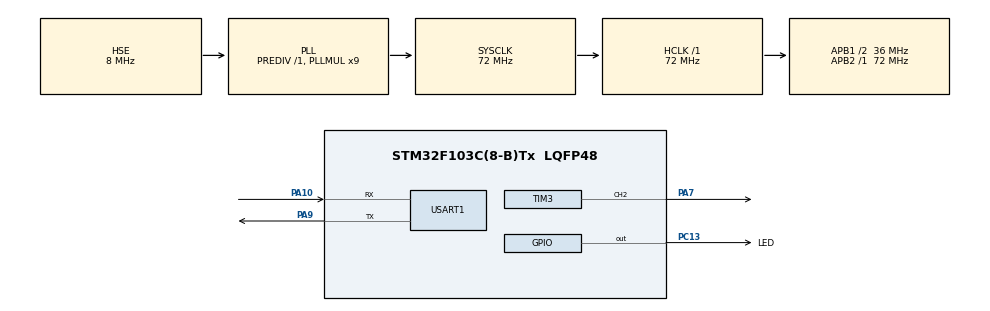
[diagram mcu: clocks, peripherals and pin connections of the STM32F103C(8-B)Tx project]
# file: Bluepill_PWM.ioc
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Mcu.Family=STM32F1
Mcu.Name=STM32F103C(8-B)Tx
Mcu.Package=LQFP48
NVIC.PriorityGroup=NVIC_PRIORITYGROUP_4
PA10.Mode=Asynchronous
PA10.Signal=USART1_RX
PA13.Mode=Serial_Wire
PA13.Signal=SYS_JTMS-SWDIO
PA14.Mode=Serial_Wire
PA14.Signal=SYS_JTCK-SWCLK
PA7.Signal=S_TIM3_CH2
PA9.Mode=Asynchronous
PA9.Signal=USART1_TX
PC13-TAMPER-RTC.GPIO_Label=LED
PC13-TAMPER-RTC.GPIO_ModeDefaultOutputPP=GPIO_MODE_OUTPUT_OD
PC13-TAMPER-RTC.GPIO_PuPd=GPIO_NOPULL
PC13-TAMPER-RTC.PinState=GPIO_PIN_SET
PC13-TAMPER-RTC.Signal=GPIO_Output
PD0-OSC_IN.Mode=HSE-External-Oscillator
PD0-OSC_IN.Signal=RCC_OSC_IN
PD1-OSC_OUT.Mode=HSE-External-Oscillator
PD1-OSC_OUT.Signal=RCC_OSC_OUT
ProjectManager.HeapSize=0x200
ProjectManager.StackSize=0x400
ProjectManager.TargetToolchain=STM32CubeIDE
RCC.AHBFreq_Value=72000000
RCC.APB1CLKDivider=RCC_HCLK_DIV2
RCC.APB1Freq_Value=36000000
RCC.APB1TimFreq_Value=72000000
RCC.APB2Freq_Value=72000000
RCC.APB2TimFreq_Value=72000000
RCC.HCLKFreq_Value=72000000
RCC.PLLMUL=RCC_PLL_MUL9
RCC.PLLSourceVirtual=RCC_PLLSOURCE_HSE
RCC.SYSCLKFreq_VALUE=72000000
RCC.SYSCLKSource=RCC_SYSCLKSOURCE_PLLCLK
RCC.USBFreq_Value=72000000
SH.S_TIM3_CH2.0=TIM3_CH2,PWM Generation2 CH2
TIM3.Channel-PWM\ Generation2\ CH2=TIM_CHANNEL_2
TIM3.Period=10000-1
TIM3.Prescaler=14400-1
TIM3.Pulse-PWM\ Generation2\ CH2=5000
USART1.VirtualMode=VM_ASYNC
VP_TIM3_VS_ClockSourceINT.Mode=Internal
board=custom

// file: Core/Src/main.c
/* USER CODE BEGIN Header */
/**
  ******************************************************************************
  * @file           : main.c
  * @brief          : Main program body
  ******************************************************************************
  * @attention
  *
  * Copyright (c) 2025 STMicroelectronics.
  * All rights reserved.
  *
  * This software is licensed under terms that can be found in the LICENSE file
  * in the root directory of this software component.
  * If no LICENSE file comes with this software, it is provided AS-IS.
  *
  ******************************************************************************
  */
/* USER CODE END Header */
#include "main.h"

/* USER CODE BEGIN Includes */
#include<stdio.h>
/* USER CODE END Includes */

TIM_HandleTypeDef htim3;

UART_HandleTypeDef huart1;

void SystemClock_Config(void);
static void MX_GPIO_Init(void);
static void MX_USART1_UART_Init(void);
static void MX_TIM3_Init(void);

/* USER CODE BEGIN 0 */

int _write(int fd, char *ptr, int len) {
    HAL_StatusTypeDef hstatus;

    if (fd == 1 || fd == 2) {
      hstatus = HAL_UART_Transmit(&huart1, (uint8_t *) ptr, len, HAL_MAX_DELAY);
      if (hstatus == HAL_OK)
        return len;
      else
        return -1;
    }
    return -1;
}

/* USER CODE END 0 */

int main(void)
{

  /* MCU Configuration--------------------------------------------------------*/

  /* Reset of all peripherals, Initializes the Flash interface and the Systick. */
  HAL_Init();

  /* Configure the system clock */
  SystemClock_Config();

  /* Initialize all configured peripherals */
  MX_GPIO_Init();
  MX_USART1_UART_Init();
  MX_TIM3_Init();
  /* USER CODE BEGIN 2 */

  printf("--------------\r\n");

  HAL_TIM_PWM_Start(&htim3, TIM_CHANNEL_2);
  __HAL_TIM_SET_COMPARE(&htim3, TIM_CHANNEL_2, 0);

  uint32_t now=0, nextTick=1000, loopCount=0, nextBlink=500, nextChange=2000;
  uint16_t duty=0, dutyChange=1000;
  int8_t dir=1;

  /* USER CODE END 2 */

  /* Infinite loop */
  /* USER CODE BEGIN WHILE */
  while (1)
  {
	  now=uwTick;

	  if(now>=nextTick){
		  printf("Tick: %lu, Loop: %lu, Duty Cycle: %u, Dir: %d\r\n", now/1000, loopCount, duty, dir);
		  nextTick=now+1000;
		  loopCount=0;
	  }

	  if(now>nextBlink){
		  HAL_GPIO_TogglePin(LED_GPIO_Port, LED_Pin);
		  nextBlink=now+500;
	  }

	  if(now>nextChange){
		  duty+=dutyChange*dir;
		  __HAL_TIM_SET_COMPARE(&htim3, TIM_CHANNEL_2, duty);

		  if(duty>=10000){
			  dir=-1;
		  }

		  if(duty<=0){
			  dir=1;
		  }

		  nextChange=now+2000;
	  }

	  loopCount++;

    /* USER CODE END WHILE */

  }
}

void SystemClock_Config(void)
{
  RCC_OscInitTypeDef RCC_OscInitStruct = {0};
  RCC_ClkInitTypeDef RCC_ClkInitStruct = {0};

  /** Initializes the RCC Oscillators according to the specified parameters
  * in the RCC_OscInitTypeDef structure.
  */
  RCC_OscInitStruct.OscillatorType = RCC_OSCILLATORTYPE_HSE;
  RCC_OscInitStruct.HSEState = RCC_HSE_ON;
  RCC_OscInitStruct.HSEPredivValue = RCC_HSE_PREDIV_DIV1;
  RCC_OscInitStruct.HSIState = RCC_HSI_ON;
  RCC_OscInitStruct.PLL.PLLState = RCC_PLL_ON;
  RCC_OscInitStruct.PLL.PLLSource = RCC_PLLSOURCE_HSE;
  RCC_OscInitStruct.PLL.PLLMUL = RCC_PLL_MUL9;
  if (HAL_RCC_OscConfig(&RCC_OscInitStruct) != HAL_OK)
  {
    Error_Handler();
  }

  /** Initializes the CPU, AHB and APB buses clocks
  */
  RCC_ClkInitStruct.ClockType = RCC_CLOCKTYPE_HCLK|RCC_CLOCKTYPE_SYSCLK
                              |RCC_CLOCKTYPE_PCLK1|RCC_CLOCKTYPE_PCLK2;
  RCC_ClkInitStruct.SYSCLKSource = RCC_SYSCLKSOURCE_PLLCLK;
  RCC_ClkInitStruct.AHBCLKDivider = RCC_SYSCLK_DIV1;
  RCC_ClkInitStruct.APB1CLKDivider = RCC_HCLK_DIV2;
  RCC_ClkInitStruct.APB2CLKDivider = RCC_HCLK_DIV1;

  if (HAL_RCC_ClockConfig(&RCC_ClkInitStruct, FLASH_LATENCY_2) != HAL_OK)
  {
    Error_Handler();
  }
}

static void MX_TIM3_Init(void)
{

  TIM_ClockConfigTypeDef sClockSourceConfig = {0};
  TIM_MasterConfigTypeDef sMasterConfig = {0};
  TIM_OC_InitTypeDef sConfigOC = {0};

  htim3.Instance = TIM3;
  htim3.Init.Prescaler = 14400-1;
  htim3.Init.CounterMode = TIM_COUNTERMODE_UP;
  htim3.Init.Period = 10000-1;
  htim3.Init.ClockDivision = TIM_CLOCKDIVISION_DIV1;
  htim3.Init.AutoReloadPreload = TIM_AUTORELOAD_PRELOAD_DISABLE;
  if (HAL_TIM_Base_Init(&htim3) != HAL_OK)
  {
    Error_Handler();
  }
  sClockSourceConfig.ClockSource = TIM_CLOCKSOURCE_INTERNAL;
  if (HAL_TIM_ConfigClockSource(&htim3, &sClockSourceConfig) != HAL_OK)
  {
    Error_Handler();
  }
  if (HAL_TIM_PWM_Init(&htim3) != HAL_OK)
  {
    Error_Handler();
  }
  sMasterConfig.MasterOutputTrigger = TIM_TRGO_RESET;
  sMasterConfig.MasterSlaveMode = TIM_MASTERSLAVEMODE_DISABLE;
  if (HAL_TIMEx_MasterConfigSynchronization(&htim3, &sMasterConfig) != HAL_OK)
  {
    Error_Handler();
  }
  sConfigOC.OCMode = TIM_OCMODE_PWM1;
  sConfigOC.Pulse = 5000;
  sConfigOC.OCPolarity = TIM_OCPOLARITY_HIGH;
  sConfigOC.OCFastMode = TIM_OCFAST_DISABLE;
  if (HAL_TIM_PWM_ConfigChannel(&htim3, &sConfigOC, TIM_CHANNEL_2) != HAL_OK)
  {
    Error_Handler();
  }
  HAL_TIM_MspPostInit(&htim3);

}

static void MX_USART1_UART_Init(void)
{

  huart1.Instance = USART1;
  huart1.Init.BaudRate = 115200;
  huart1.Init.WordLength = UART_WORDLENGTH_8B;
  huart1.Init.StopBits = UART_STOPBITS_1;
  huart1.Init.Parity = UART_PARITY_NONE;
  huart1.Init.Mode = UART_MODE_TX_RX;
  huart1.Init.HwFlowCtl = UART_HWCONTROL_NONE;
  huart1.Init.OverSampling = UART_OVERSAMPLING_16;
  if (HAL_UART_Init(&huart1) != HAL_OK)
  {
    Error_Handler();
  }

}

static void MX_GPIO_Init(void)
{
  GPIO_InitTypeDef GPIO_InitStruct = {0};

  /* GPIO Ports Clock Enable */
  __HAL_RCC_GPIOC_CLK_ENABLE();
  __HAL_RCC_GPIOD_CLK_ENABLE();
  __HAL_RCC_GPIOA_CLK_ENABLE();

  /*Configure GPIO pin Output Level */
  HAL_GPIO_WritePin(LED_GPIO_Port, LED_Pin, GPIO_PIN_SET);

  /*Configure GPIO pin : LED_Pin */
  GPIO_InitStruct.Pin = LED_Pin;
  GPIO_InitStruct.Mode = GPIO_MODE_OUTPUT_OD;
  GPIO_InitStruct.Pull = GPIO_NOPULL;
  GPIO_InitStruct.Speed = GPIO_SPEED_FREQ_LOW;
  HAL_GPIO_Init(LED_GPIO_Port, &GPIO_InitStruct);

}

void Error_Handler(void)
{
  __disable_irq();
  while (1)
  {
  }
}
